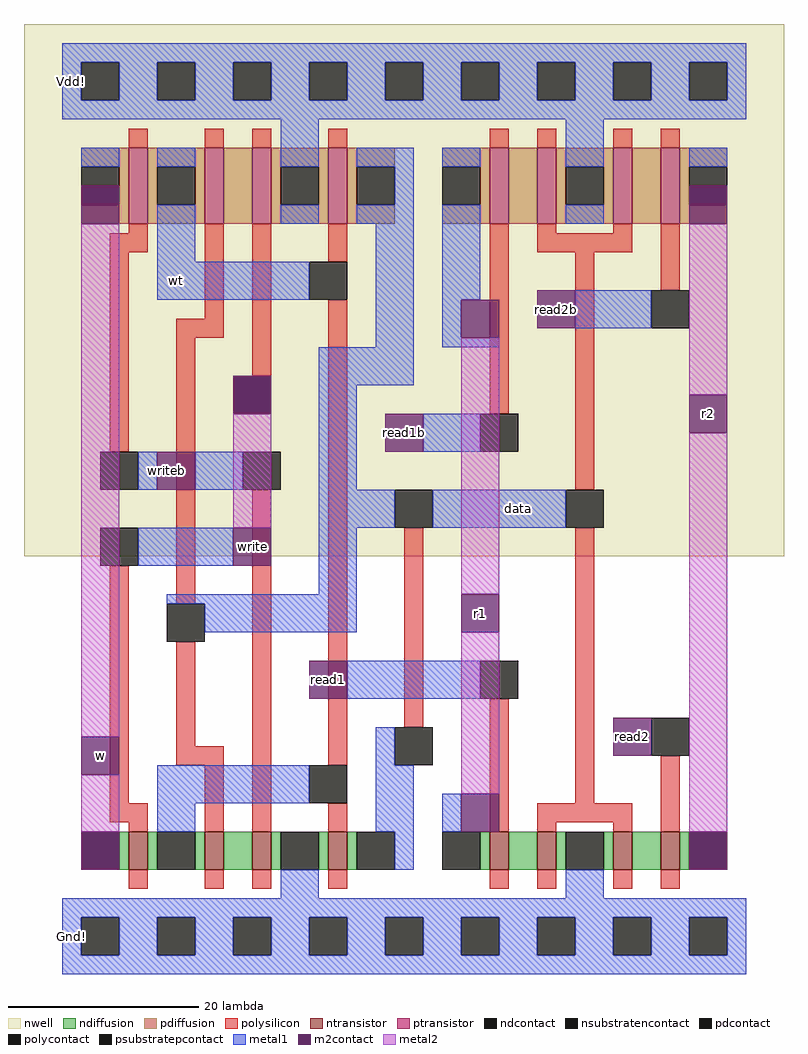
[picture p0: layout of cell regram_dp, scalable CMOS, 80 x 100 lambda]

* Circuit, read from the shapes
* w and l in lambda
.subckt regram_dp Gnd! Vdd! data r1 r2 read1 read1b read2 read2b w write writeb wt
M1 wt write w Gnd! nfet w=4 l=2
M2 n1 data wt Gnd! nfet w=4 l=2
M3 Gnd! writeb n1 Gnd! nfet w=4 l=2
M4 data wt Gnd! Gnd! nfet w=4 l=2
M5 n2 read1 r1 Gnd! nfet w=4 l=2
M6 Gnd! data n2 Gnd! nfet w=4 l=2
M7 n3 data Gnd! Gnd! nfet w=4 l=2
M8 r2 read2 n3 Gnd! nfet w=4 l=2
M9 wt writeb w Vdd! pfet w=8 l=2
M10 n4 data wt Vdd! pfet w=8 l=2
M11 Vdd! write n4 Vdd! pfet w=8 l=2
M12 data wt Vdd! Vdd! pfet w=8 l=2
M13 n5 read1b r1 Vdd! pfet w=8 l=2
M14 Vdd! data n5 Vdd! pfet w=8 l=2
M15 n6 data Vdd! Vdd! pfet w=8 l=2
M16 r2 read2b n6 Vdd! pfet w=8 l=2
.ends

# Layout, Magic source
magic
tech scmos
<< nwell >>
rect -6 40 74 96
<< ntransistor >>
rect 5 7 7 11
rect 13 7 15 11
rect 18 7 20 11
rect 26 7 28 11
rect 43 7 45 11
rect 48 7 50 11
rect 56 7 58 11
rect 61 7 63 11
<< ptransistor >>
rect 5 75 7 83
rect 13 75 15 83
rect 18 75 20 83
rect 26 75 28 83
rect 43 75 45 83
rect 48 75 50 83
rect 56 75 58 83
rect 61 75 63 83
<< ndiffusion >>
rect 4 7 5 11
rect 7 7 8 11
rect 12 7 13 11
rect 15 7 18 11
rect 20 7 21 11
rect 25 7 26 11
rect 28 7 29 11
rect 42 7 43 11
rect 45 7 48 11
rect 50 7 51 11
rect 55 7 56 11
rect 58 7 61 11
rect 63 7 64 11
<< pdiffusion >>
rect 0 81 5 83
rect 4 77 5 81
rect 0 75 5 77
rect 7 81 13 83
rect 7 77 8 81
rect 12 77 13 81
rect 7 75 13 77
rect 15 75 18 83
rect 20 81 26 83
rect 20 77 21 81
rect 25 77 26 81
rect 20 75 26 77
rect 28 81 33 83
rect 28 77 29 81
rect 28 75 33 77
rect 38 81 43 83
rect 42 77 43 81
rect 38 75 43 77
rect 45 75 48 83
rect 50 81 56 83
rect 50 77 51 81
rect 55 77 56 81
rect 50 75 56 77
rect 58 75 61 83
rect 63 81 68 83
rect 63 77 64 81
rect 63 75 68 77
<< ndcontact >>
rect 0 7 4 11
rect 8 7 12 11
rect 21 7 25 11
rect 29 7 33 11
rect 38 7 42 11
rect 51 7 55 11
rect 64 7 68 11
<< pdcontact >>
rect 0 77 4 81
rect 8 77 12 81
rect 21 77 25 81
rect 29 77 33 81
rect 38 77 42 81
rect 51 77 55 81
rect 64 77 68 81
<< psubstratepcontact >>
rect 0 -2 4 2
rect 8 -2 12 2
rect 16 -2 20 2
rect 24 -2 28 2
rect 32 -2 36 2
rect 40 -2 44 2
rect 48 -2 52 2
rect 56 -2 60 2
rect 64 -2 68 2
<< nsubstratencontact >>
rect 0 88 4 92
rect 8 88 12 92
rect 16 88 20 92
rect 24 88 28 92
rect 32 88 36 92
rect 40 88 44 92
rect 48 88 52 92
rect 56 88 60 92
rect 64 88 68 92
<< polysilicon >>
rect 5 83 7 85
rect 13 83 15 85
rect 18 83 20 85
rect 26 83 28 85
rect 43 83 45 85
rect 48 83 50 85
rect 56 83 58 85
rect 61 83 63 85
rect 5 74 7 75
rect 3 72 7 74
rect 3 51 5 72
rect 13 65 15 75
rect 10 63 15 65
rect 3 14 5 39
rect 10 35 12 63
rect 18 59 20 75
rect 26 71 28 75
rect 10 20 12 31
rect 10 18 15 20
rect 3 12 7 14
rect 5 11 7 12
rect 13 11 15 18
rect 18 11 20 47
rect 26 18 28 67
rect 43 55 45 75
rect 48 74 50 75
rect 56 74 58 75
rect 48 72 58 74
rect 52 47 54 72
rect 61 68 63 75
rect 34 22 36 43
rect 26 11 28 14
rect 43 11 45 25
rect 52 14 54 43
rect 48 12 58 14
rect 48 11 50 12
rect 56 11 58 12
rect 61 11 63 19
rect 5 5 7 7
rect 13 5 15 7
rect 18 5 20 7
rect 26 5 28 7
rect 43 5 45 7
rect 48 5 50 7
rect 56 5 58 7
rect 61 5 63 7
<< polycontact >>
rect 2 47 6 51
rect 2 39 6 43
rect 24 67 28 71
rect 16 55 20 59
rect 17 47 21 51
rect 9 31 13 35
rect 42 51 46 55
rect 60 64 64 68
rect 33 43 37 47
rect 51 43 55 47
rect 42 25 46 29
rect 33 18 37 22
rect 24 14 28 18
rect 60 19 64 23
<< metal1 >>
rect -2 92 70 94
rect -2 88 0 92
rect 4 88 8 92
rect 12 88 16 92
rect 20 88 24 92
rect 28 88 32 92
rect 36 88 40 92
rect 44 88 48 92
rect 52 88 56 92
rect 60 88 64 92
rect 68 88 70 92
rect -2 86 70 88
rect 0 81 4 83
rect 8 81 12 83
rect 8 71 12 77
rect 21 81 25 86
rect 21 75 25 77
rect 29 81 35 83
rect 33 77 35 81
rect 29 75 35 77
rect 8 67 24 71
rect 31 62 35 75
rect 38 81 42 83
rect 38 67 42 77
rect 51 81 55 86
rect 51 75 55 77
rect 64 81 68 83
rect 38 63 40 67
rect 52 64 60 68
rect 38 62 44 63
rect 25 58 35 62
rect 6 47 8 51
rect 12 47 17 51
rect 25 47 29 58
rect 36 51 42 55
rect 25 43 33 47
rect 37 43 51 47
rect 6 39 16 43
rect 25 36 29 43
rect 9 35 29 36
rect 13 32 29 35
rect 28 25 42 29
rect 31 18 33 22
rect 8 14 24 18
rect 8 11 12 14
rect 31 11 35 18
rect 33 7 35 11
rect 38 11 40 15
rect 21 4 25 7
rect 51 4 55 7
rect -2 2 70 4
rect -2 -2 0 2
rect 4 -2 8 2
rect 12 -2 16 2
rect 20 -2 24 2
rect 28 -2 32 2
rect 36 -2 40 2
rect 44 -2 48 2
rect 52 -2 56 2
rect 60 -2 64 2
rect 68 -2 70 2
rect -2 -4 70 -2
<< m2contact >>
rect 0 77 4 79
rect 0 75 4 77
rect 64 77 68 79
rect 64 75 68 77
rect 40 63 44 67
rect 48 64 52 68
rect 16 55 20 59
rect 8 47 12 51
rect 32 51 36 55
rect 64 53 68 57
rect 16 39 20 43
rect 40 32 44 36
rect 24 25 28 29
rect 0 17 4 21
rect 56 19 60 23
rect 0 7 4 11
rect 40 11 44 15
rect 64 7 68 11
<< metal2 >>
rect 0 21 4 75
rect 16 43 20 55
rect 40 36 44 63
rect 0 11 4 17
rect 40 15 44 32
rect 64 57 68 75
rect 64 11 68 53
<< labels >>
rlabel metal1 -1 0 -1 0 2 Gnd!
rlabel metal1 -1 90 -1 90 3 Vdd!
rlabel m2contact 9 49 9 49 1 writeb
rlabel m2contact 18 41 18 41 1 write
rlabel m2contact 50 66 50 66 1 read2b
rlabel m2contact 58 21 58 21 1 read2
rlabel m2contact 26 27 26 27 1 read1
rlabel m2contact 42 34 42 34 1 r1
rlabel m2contact 66 55 66 55 1 r2
rlabel m2contact 2 19 2 19 1 w
rlabel metal1 46 45 46 45 1 data
rlabel metal1 10 69 10 69 1 wt
rlabel m2contact 34 53 34 53 1 read1b
<< end >>
